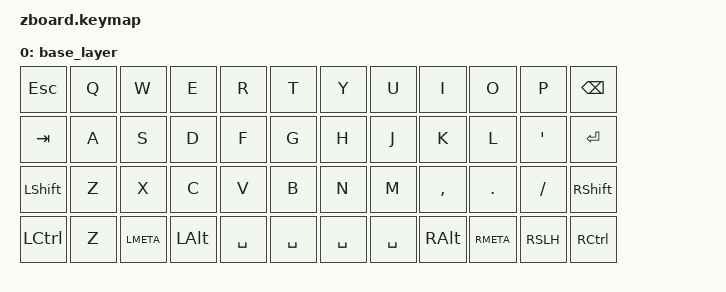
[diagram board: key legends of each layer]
/*
 * Copyright (c) 2020 The ZMK Contributors
 *
 * SPDX-License-Identifier: MIT
 */

#include <behaviors.dtsi>
#include <dt-bindings/zmk/keys.h>
#include <dt-bindings/zmk/bt.h>


/ { 
#define BASE 0

combos {
    compatible = "zmk,combos";
    combo_caps {
        layers = <0>;
        timeout-ms = <50>;
        key-positions = <17 20>;
        bindings = <&caps_word>;
    };
     
};
        keymap {
                compatible = "zmk,keymap";
                
       		base_layer {
		bindings = <
		&kp ESC   &kp Q      &kp W       &kp E          &kp R      &kp T          &kp Y         &kp U         &kp I         &kp O        &kp P    &kp BSPC 
		&kp TAB   &kp A      &kp S       &kp D          &kp F      &kp G          &kp H         &kp J         &kp K         &kp L        &kp SQT  &kp RET
		&kp LSHFT &kp Z      &kp X       &kp C          &kp V      &kp B          &kp N         &kp M         &kp COMMA     &kp DOT      &kp FSLH &kp RSHFT 
		&kp LCTRL &kp Z      &kp LMETA   &kp LALT       &kp SPACE  &kp SPACE      &kp SPACE     &kp SPACE     &kp RALT     &kp RMETA     &kp RSLH &kp RCTRL  
		>;
		};
        
	};
};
